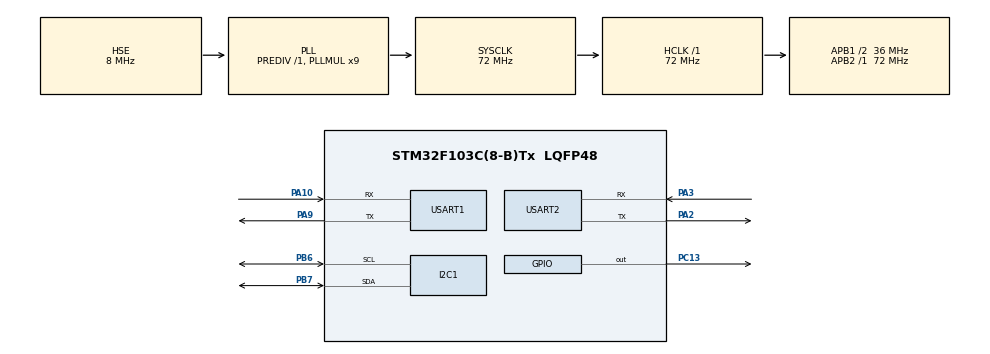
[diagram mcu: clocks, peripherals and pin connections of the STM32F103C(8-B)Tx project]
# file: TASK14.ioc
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Mcu.Family=STM32F1
Mcu.Name=STM32F103C(8-B)Tx
Mcu.Package=LQFP48
NVIC.I2C1_ER_IRQn=true\:0\:0\:false\:false\:true\:true\:true\:true
NVIC.I2C1_EV_IRQn=true\:0\:0\:false\:false\:true\:true\:true\:true
NVIC.PriorityGroup=NVIC_PRIORITYGROUP_4
NVIC.USART1_IRQn=true\:0\:0\:false\:false\:true\:true\:true\:true
NVIC.USART2_IRQn=true\:0\:0\:false\:false\:true\:true\:true\:true
PA10.Mode=Asynchronous
PA10.Signal=USART1_RX
PA13.Mode=Serial_Wire
PA13.Signal=SYS_JTMS-SWDIO
PA14.Mode=Serial_Wire
PA14.Signal=SYS_JTCK-SWCLK
PA2.Mode=Asynchronous
PA2.Signal=USART2_TX
PA3.Mode=Asynchronous
PA3.Signal=USART2_RX
PA9.Mode=Asynchronous
PA9.Signal=USART1_TX
PB6.Mode=I2C
PB6.Signal=I2C1_SCL
PB7.Mode=I2C
PB7.Signal=I2C1_SDA
PC13-TAMPER-RTC.Signal=GPIO_Output
PD0-OSC_IN.Mode=HSE-External-Oscillator
PD0-OSC_IN.Signal=RCC_OSC_IN
PD1-OSC_OUT.Mode=HSE-External-Oscillator
PD1-OSC_OUT.Signal=RCC_OSC_OUT
ProjectManager.HeapSize=0x200
ProjectManager.StackSize=0x400
ProjectManager.TargetToolchain=MDK-ARM V5.32
RCC.AHBFreq_Value=72000000
RCC.APB1CLKDivider=RCC_HCLK_DIV2
RCC.APB1Freq_Value=36000000
RCC.APB1TimFreq_Value=72000000
RCC.APB2Freq_Value=72000000
RCC.APB2TimFreq_Value=72000000
RCC.HCLKFreq_Value=72000000
RCC.PLLMUL=RCC_PLL_MUL9
RCC.PLLSourceVirtual=RCC_PLLSOURCE_HSE
RCC.SYSCLKFreq_VALUE=72000000
RCC.SYSCLKSource=RCC_SYSCLKSOURCE_PLLCLK
RCC.USBFreq_Value=72000000
USART1.VirtualMode=VM_ASYNC
USART2.VirtualMode=VM_ASYNC
board=custom

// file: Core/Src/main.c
/* USER CODE BEGIN Header */
/**
  ******************************************************************************
  * @file           : main.c
  * @brief          : Main program body
  ******************************************************************************
  * @attention
  *
  * Copyright (c) 2026 STMicroelectronics.
  * All rights reserved.
  *
  * This software is licensed under terms that can be found in the LICENSE file
  * in the root directory of this software component.
  * If no LICENSE file comes with this software, it is provided AS-IS.
  *
  ******************************************************************************
  */
/* USER CODE END Header */
#include "main.h"

/* USER CODE BEGIN Includes */
#include "bme280.h"
#include "ESPLib.h"
#include <stdio.h>
#include <string.h>
/* USER CODE END Includes */

I2C_HandleTypeDef hi2c1;

UART_HandleTypeDef huart1;
UART_HandleTypeDef huart2;

/* USER CODE BEGIN PV */
// BME280 Variables
struct bme280_dev bme280;
struct bme280_settings settings;
uint8_t bme_i2c_addr = BME280_I2C_ADDR_PRIM << 1; // 0x76 << 1 = 0xEC for HAL

// Wi-Fi & MQTT Credentials
const char WIFI_SSID[] = "SNUC";
const char WIFI_PASS[] = "snu12345";
const char MQTT_BROKER[] = "broker.emqx.io";
const char MQTT_PORT[]   = "1883";

char rxTopic[32];
char rxMsg[64];
/* USER CODE END PV */

void SystemClock_Config(void);
static void MX_GPIO_Init(void);
static void MX_I2C1_Init(void);
static void MX_USART1_UART_Init(void);
static void MX_USART2_UART_Init(void);
/* USER CODE BEGIN PFP */
void Debug_Print(const char *msg);
int8_t user_i2c_read(uint8_t reg_addr, uint8_t *reg_data, uint32_t len, void *intf_ptr);
int8_t user_i2c_write(uint8_t reg_addr, const uint8_t *reg_data, uint32_t len, void *intf_ptr);
void user_delay_us(uint32_t period, void *intf_ptr);
void Setup_Hardware_Sensors(void);
/* USER CODE END PFP */

/* USER CODE BEGIN 0 */
// Print debug messages to PC Terminal over USART2
void Debug_Print(const char *msg) {
    HAL_UART_Transmit(&huart2, (uint8_t *)msg, strlen(msg), 100);
}

// Bridge Bosch BME280 Driver I2C Read to STM32 HAL
int8_t user_i2c_read(uint8_t reg_addr, uint8_t *reg_data, uint32_t len, void *intf_ptr) {
    uint8_t dev_addr = *(uint8_t*)intf_ptr;
    if (HAL_I2C_Mem_Read(&hi2c1, dev_addr, reg_addr, I2C_MEMADD_SIZE_8BIT, reg_data, len, 100) == HAL_OK) {
        return BME280_OK;
    }
    return BME280_E_COMM_FAIL;
}

int8_t user_i2c_write(uint8_t reg_addr, const uint8_t *reg_data, uint32_t len, void *intf_ptr) {
    uint8_t dev_addr = *(uint8_t*)intf_ptr;
    if (HAL_I2C_Mem_Write(&hi2c1, dev_addr, reg_addr, I2C_MEMADD_SIZE_8BIT, (uint8_t*)reg_data, len, 100) == HAL_OK) {
        return BME280_OK;
    }
    return BME280_E_COMM_FAIL;
}

// Bridge Bosch Delay to STM32 HAL Delay
void user_delay_us(uint32_t period, void *intf_ptr) {
    HAL_Delay((period + 999) / 1000);
}

void Setup_Hardware_Sensors(void) {
    bme280.intf_ptr = &bme_i2c_addr;
    bme280.intf     = BME280_I2C_INTF;
    bme280.read     = user_i2c_read;
    bme280.write    = user_i2c_write;
    bme280.delay_us = user_delay_us;

    if (bme280_init(&bme280) == BME280_OK) {
        Debug_Print("[BME280]: Driver Initialized Successfully!\r\n");
    } else {
        Debug_Print("[BME280 ERROR]: Communication Failed!\r\n");
    }

    settings.osr_h        = BME280_OVERSAMPLING_1X;
    settings.osr_p        = BME280_OVERSAMPLING_16X;
    settings.osr_t        = BME280_OVERSAMPLING_2X;
    settings.filter       = BME280_FILTER_COEFF_16;
    settings.standby_time = BME280_STANDBY_TIME_62_5_MS;

    uint8_t settings_sel = BME280_SEL_OSR_PRESS | BME280_SEL_OSR_TEMP | BME280_SEL_OSR_HUM | BME280_SEL_FILTER | BME280_SEL_STANDBY;
    bme280_set_sensor_settings(settings_sel, &settings, &bme280);
    bme280_set_sensor_mode(BME280_POWERMODE_NORMAL, &bme280);
}
/* USER CODE END 0 */

int main(void)
{

  /* MCU Configuration--------------------------------------------------------*/

  /* Reset of all peripherals, Initializes the Flash interface and the Systick. */
  HAL_Init();

  /* Configure the system clock */
  SystemClock_Config();

  /* Initialize all configured peripherals */
  MX_GPIO_Init();
  MX_I2C1_Init();
  MX_USART1_UART_Init();
  MX_USART2_UART_Init();
  /* USER CODE BEGIN 2 */
  HAL_Delay(2000);
  Debug_Print("--- Starting STM32 IoT Environmental Monitoring Pipeline ---\r\n");

  // 1. Initialize BME280 Sensor
  Setup_Hardware_Sensors();

  // 2. Initialize ESP8266 and Connect to Wi-Fi
  Debug_Print("Initializing ESP8266...\r\n");
  ESP8266_Init(1, huart1); // Station Mode = 1

  Debug_Print("Connecting to Wi-Fi...\r\n");
  ESP8266_wifiConnect((char*)WIFI_SSID, (char*)WIFI_PASS);
  Debug_Print("Wi-Fi Connected!\r\n");

  // 3. Open TCP Connection to MQTT Broker
  Debug_Print("Connecting to Broker...\r\n");
  ESP8266_portConnect("TCP", (char*)MQTT_BROKER, (char*)MQTT_PORT);

  // 4. Send MQTT CONNECT Control Packet
  MQTT_InitTypeDef_t mqttInitConfig;
  mqttInitConfig.clientID    = "STM32_BME280_Node_SNUC_01";
  mqttInitConfig.keepAlive   = 500;
  mqttInitConfig.connectFlag = CleanSession; // Clean Session

  MQTT_connectBroker(&mqttInitConfig);
  Debug_Print("MQTT Broker Connected!\r\n");

  // 5. Subscribe to Incoming Control Topic
  MQTT_subscribeTopic("stm32/control", 0);
  Debug_Print("Subscribed to stm32/control!\r\n");

  uint32_t lastPubTime = 0;
  uint32_t count = 0;
  /* USER CODE END 2 */

  /* Infinite loop */
  /* USER CODE BEGIN WHILE */
 // while (1)
  //{
    /* USER CODE END WHILE */
    /* USER CODE BEGIN 3 */
 // }
	while(1) {
		// Read sensor and publish telemetry every 5 seconds
      if ((HAL_GetTick() - lastPubTime) > 5000) {
          lastPubTime = HAL_GetTick();

          struct bme280_data comp_data;
          bme280_get_sensor_data(BME280_ALL, &comp_data, &bme280);

          char payload[128];

					snprintf(payload, sizeof(payload),
         "{\"status\":\"success\",\"temperature\":%.2f,\"humidity\":%.2f,\"pressure\":%.2f}",
         comp_data.temperature, comp_data.humidity, comp_data.pressure / 100.0);

          MQTT_publishTopic("stm32/environment", payload, 0);

          Debug_Print("[BME280 TELEMETRY PUBLISHED]: ");
          Debug_Print(payload);
          Debug_Print("\r\n");
      }

      // Check for incoming MQTT control messages
      MQTTDataHandler(rxTopic, rxMsg);

      if (strlen(rxMsg) > 0) {
          Debug_Print("----------------------------\r\n");
          Debug_Print("[RECEIVED TOPIC]: ");
          Debug_Print(rxTopic);
          Debug_Print("\r\n[RECEIVED MSG]: ");
          Debug_Print(rxMsg);
          Debug_Print("\r\n----------------------------\r\n");

          if (strstr(rxMsg, "ON") != NULL) {
              HAL_GPIO_WritePin(GPIOC, GPIO_PIN_13, GPIO_PIN_RESET);
          } else if (strstr(rxMsg, "OFF") != NULL) {
              HAL_GPIO_WritePin(GPIOC, GPIO_PIN_13, GPIO_PIN_SET);
          }

          memset(rxMsg, 0, sizeof(rxMsg));
          memset(rxTopic, 0, sizeof(rxTopic));
      }
	}
  /* USER CODE END 3 */
}

void SystemClock_Config(void)
{
  RCC_OscInitTypeDef RCC_OscInitStruct = {0};
  RCC_ClkInitTypeDef RCC_ClkInitStruct = {0};

  /** Initializes the RCC Oscillators according to the specified parameters
  * in the RCC_OscInitTypeDef structure.
  */
  RCC_OscInitStruct.OscillatorType = RCC_OSCILLATORTYPE_HSE;
  RCC_OscInitStruct.HSEState = RCC_HSE_ON;
  RCC_OscInitStruct.HSEPredivValue = RCC_HSE_PREDIV_DIV1;
  RCC_OscInitStruct.HSIState = RCC_HSI_ON;
  RCC_OscInitStruct.PLL.PLLState = RCC_PLL_ON;
  RCC_OscInitStruct.PLL.PLLSource = RCC_PLLSOURCE_HSE;
  RCC_OscInitStruct.PLL.PLLMUL = RCC_PLL_MUL9;
  if (HAL_RCC_OscConfig(&RCC_OscInitStruct) != HAL_OK)
  {
    Error_Handler();
  }

  /** Initializes the CPU, AHB and APB buses clocks
  */
  RCC_ClkInitStruct.ClockType = RCC_CLOCKTYPE_HCLK|RCC_CLOCKTYPE_SYSCLK
                              |RCC_CLOCKTYPE_PCLK1|RCC_CLOCKTYPE_PCLK2;
  RCC_ClkInitStruct.SYSCLKSource = RCC_SYSCLKSOURCE_PLLCLK;
  RCC_ClkInitStruct.AHBCLKDivider = RCC_SYSCLK_DIV1;
  RCC_ClkInitStruct.APB1CLKDivider = RCC_HCLK_DIV2;
  RCC_ClkInitStruct.APB2CLKDivider = RCC_HCLK_DIV1;

  if (HAL_RCC_ClockConfig(&RCC_ClkInitStruct, FLASH_LATENCY_2) != HAL_OK)
  {
    Error_Handler();
  }
}

static void MX_I2C1_Init(void)
{

  hi2c1.Instance = I2C1;
  hi2c1.Init.ClockSpeed = 100000;
  hi2c1.Init.DutyCycle = I2C_DUTYCYCLE_2;
  hi2c1.Init.OwnAddress1 = 0;
  hi2c1.Init.AddressingMode = I2C_ADDRESSINGMODE_7BIT;
  hi2c1.Init.DualAddressMode = I2C_DUALADDRESS_DISABLE;
  hi2c1.Init.OwnAddress2 = 0;
  hi2c1.Init.GeneralCallMode = I2C_GENERALCALL_DISABLE;
  hi2c1.Init.NoStretchMode = I2C_NOSTRETCH_DISABLE;
  if (HAL_I2C_Init(&hi2c1) != HAL_OK)
  {
    Error_Handler();
  }

}

static void MX_USART1_UART_Init(void)
{

  huart1.Instance = USART1;
  huart1.Init.BaudRate = 115200;
  huart1.Init.WordLength = UART_WORDLENGTH_8B;
  huart1.Init.StopBits = UART_STOPBITS_1;
  huart1.Init.Parity = UART_PARITY_NONE;
  huart1.Init.Mode = UART_MODE_TX_RX;
  huart1.Init.HwFlowCtl = UART_HWCONTROL_NONE;
  huart1.Init.OverSampling = UART_OVERSAMPLING_16;
  if (HAL_UART_Init(&huart1) != HAL_OK)
  {
    Error_Handler();
  }

}

static void MX_USART2_UART_Init(void)
{

  huart2.Instance = USART2;
  huart2.Init.BaudRate = 115200;
  huart2.Init.WordLength = UART_WORDLENGTH_8B;
  huart2.Init.StopBits = UART_STOPBITS_1;
  huart2.Init.Parity = UART_PARITY_NONE;
  huart2.Init.Mode = UART_MODE_TX_RX;
  huart2.Init.HwFlowCtl = UART_HWCONTROL_NONE;
  huart2.Init.OverSampling = UART_OVERSAMPLING_16;
  if (HAL_UART_Init(&huart2) != HAL_OK)
  {
    Error_Handler();
  }

}

static void MX_GPIO_Init(void)
{
  GPIO_InitTypeDef GPIO_InitStruct = {0};

  /* GPIO Ports Clock Enable */
  __HAL_RCC_GPIOC_CLK_ENABLE();
  __HAL_RCC_GPIOD_CLK_ENABLE();
  __HAL_RCC_GPIOA_CLK_ENABLE();
  __HAL_RCC_GPIOB_CLK_ENABLE();

  /*Configure GPIO pin Output Level */
  HAL_GPIO_WritePin(GPIOC, GPIO_PIN_13, GPIO_PIN_RESET);

  /*Configure GPIO pin : PC13 */
  GPIO_InitStruct.Pin = GPIO_PIN_13;
  GPIO_InitStruct.Mode = GPIO_MODE_OUTPUT_PP;
  GPIO_InitStruct.Pull = GPIO_NOPULL;
  GPIO_InitStruct.Speed = GPIO_SPEED_FREQ_LOW;
  HAL_GPIO_Init(GPIOC, &GPIO_InitStruct);

}

/* USER CODE BEGIN 4 */
void MQTT_MessageReceivedCallback(char *topic, char *payload)
{
    if (strcmp(topic, "stm32/control") == 0)
    {
        if (strcmp(payload, "ON") == 0)
        {
            // Turn ON onboard LED (Active-LOW: RESET pulls PC13 LOW)
            HAL_GPIO_WritePin(GPIOC, GPIO_PIN_13, GPIO_PIN_RESET);
        }
        else if (strcmp(payload, "OFF") == 0)
        {
            // Turn OFF onboard LED (SET pulls PC13 HIGH)
            HAL_GPIO_WritePin(GPIOC, GPIO_PIN_13, GPIO_PIN_SET);
        }
    }
}
/* USER CODE END 4 */

void Error_Handler(void)
{
  __disable_irq();
  while (1)
  {
  }
}
